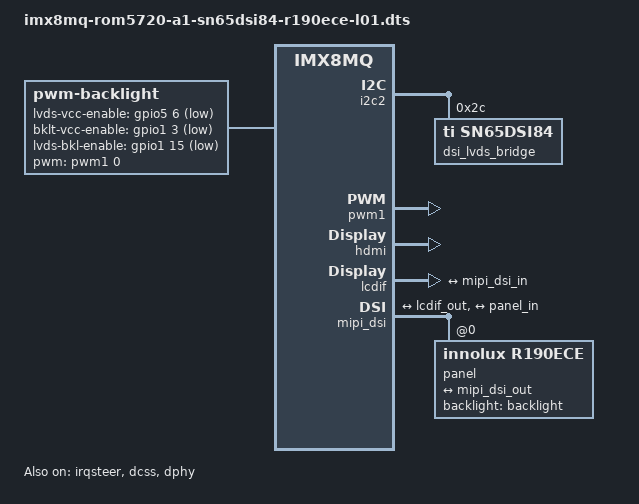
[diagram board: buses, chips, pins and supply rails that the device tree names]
// SPDX-License-Identifier: GPL-2.0
/*
 * Copyright 2020 NXP.
 */

#include "imx8mq-rom5720-a1.dts"

/ {
	backlight: backlight {
		compatible = "pwm-backlight";
		pinctrl-names = "default";
        pinctrl-0 = <&pinctrl_lcd0>;
        lvds-vcc-enable = <&gpio5 6 1>;
        bklt-vcc-enable = <&gpio1 3 1>;
        lvds-bkl-enable = <&gpio1 15 1>;
        lvds-bkl-delay-time = <500>;
        bklt-pwm-delay-time = <50>;
        bklt-en-delay-time = <200>;
		pwms = <&pwm1 0 5000000 0>;
		brightness-levels = < 0  1  2  3  4  5  6  7  8  9
			     10 11 12 13 14 15 16 17 18 19
			     20 21 22 23 24 25 26 27 28 29
			     30 31 32 33 34 35 36 37 38 39
			     40 41 42 43 44 45 46 47 48 49
			     50 51 52 53 54 55 56 57 58 59
			     60 61 62 63 64 65 66 67 68 69
			     70 71 72 73 74 75 76 77 78 79
			     80 81 82 83 84 85 86 87 88 89
			     90 91 92 93 94 95 96 97 98 99
			    100>;
		default-brightness-level = <80>;
		status = "okay";
	};

	gpio_adv {
		compatible = "misc-adv-gpio";
		status = "okay";
	};
};

&i2c2 {
	dsi_lvds_bridge: sn65dsi84@2c{
		reg = <0x2c>;
		status = "okay";
		compatible = "ti,sn65dsi84";

		sn65dsi84,addresses = <	0x09 0x0A 0x0B 0x0D 0x10 0x11 0x12 0x13
					0x18 0x19 0x1A 0x1B 0x20 0x21 0x22 0x23
					0x24 0x25 0x26 0x27 0x28 0x29 0x2A 0x2B
					0x2C 0x2D 0x2E 0x2F 0x30 0x31 0x32 0x33
					0x34 0x35 0x36 0x37 0x38 0x39 0x3A 0x3B
					0x3C 0x3D 0x3E 0x0D 0x09>;

		sn65dsi84,values =    <	0x01 0x03 0x28 0x00 0x26 0x00 0x40 0x00
					0x6c 0x00 0x03 0x00 0x00 0x05 0x00 0x00
					0x00 0x00 0x00 0x00 0x21 0x00 0x00 0x00
					0x64 0x00 0x00 0x00 0x1e 0x00 0x00 0x00
					0x50 0x00 0x00 0x00 0x00 0x00 0x00 0x00
					0x00 0x00 0x00 0x01 0x00>;
	};
};

&iomuxc {
	pinctrl_lcd0: lcd0grp {
		fsl,pins = <
			MX8MQ_IOMUXC_ECSPI1_SCLK_GPIO5_IO6	0x19		/* LCD0_VDD_EN */
			MX8MQ_IOMUXC_GPIO1_IO03_GPIO1_IO3	0x19		/* LCD0_BKLT_VDD_EN */
			MX8MQ_IOMUXC_GPIO1_IO15_GPIO1_IO15	0x19		/* LCD0_BKLT_EN */
		>;
	};
	pinctrl_pwm1: pwm1grp {
		fsl,pins = <
			MX8MQ_IOMUXC_GPIO1_IO01_PWM1_OUT         0x06
		>;
	};
};

&pwm1 {
 	status = "okay";
    pinctrl-names = "default";
    pinctrl-0 = <&pinctrl_pwm1>;
};

&irqsteer {
	status = "okay";
};

&dcss {
	status = "okay";
};

&hdmi {
	status = "okay";
};

&lcdif {
    status = "okay";
    max-memory-bandwidth = <314572800>;//<221184000>; /* 1280x1024-32@60 */

    assigned-clocks = <&clk IMX8MQ_CLK_LCDIF_PIXEL>,
                      <&clk IMX8MQ_VIDEO_PLL1_BYPASS>,
                      <&clk IMX8MQ_VIDEO_PLL1_REF_SEL>,
                      <&clk IMX8MQ_VIDEO_PLL1>;
    assigned-clock-parents = <&clk IMX8MQ_VIDEO_PLL1_OUT>,
                             <&clk IMX8MQ_VIDEO_PLL1>,
                             <&clk IMX8MQ_CLK_27M>;
    assigned-clock-rate = <126000000>, <0>, <0>, <1134000000>;

    port@0 {
        lcdif_out: endpoint {
            remote-endpoint = <&mipi_dsi_in>;
        };
    };
};

&mipi_dsi {
	status = "okay";
	fsl,clock-drop-level = <2>;

	panel@0 {
		compatible = "innolux,r190ece";
		reg = <0>;
		backlight = <&backlight>;
		status = "okay";
		port {
			panel_in: endpoint {
				remote-endpoint = <&mipi_dsi_out>;
			};
		};
	};

	ports {
		#address-cells = <1>;
		#size-cells = <0>;

		port@0 {
			reg = <0>;
			mipi_dsi_in: endpoint {
				remote-endpoint = <&lcdif_out>;
			};
		};

		port@1 {
			reg = <1>;
			mipi_dsi_out: endpoint {
				remote-endpoint = <&panel_in>;
			};
		};
	};
};

&dphy {
	status = "okay";
};
